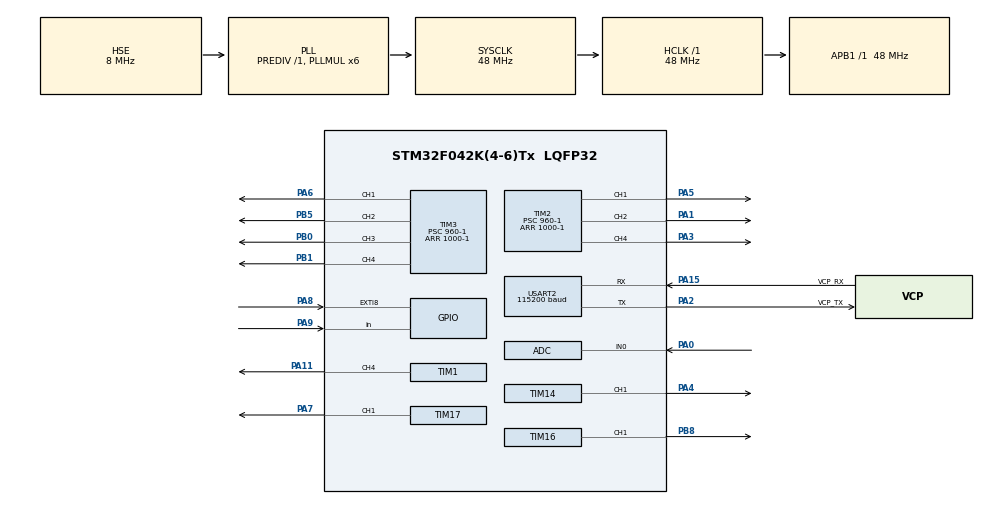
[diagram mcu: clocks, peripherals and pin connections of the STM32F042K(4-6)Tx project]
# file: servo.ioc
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ADC.ContinuousConvMode=ENABLE
Dma.Request0=USART2_RX
Dma.USART2_RX.0.Direction=DMA_PERIPH_TO_MEMORY
Dma.USART2_RX.0.Instance=DMA1_Channel5
Dma.USART2_RX.0.MemDataAlignment=DMA_MDATAALIGN_BYTE
Dma.USART2_RX.0.MemInc=DMA_MINC_ENABLE
Dma.USART2_RX.0.Mode=DMA_NORMAL
Dma.USART2_RX.0.PeriphDataAlignment=DMA_PDATAALIGN_BYTE
Dma.USART2_RX.0.PeriphInc=DMA_PINC_DISABLE
Dma.USART2_RX.0.Priority=DMA_PRIORITY_LOW
Mcu.Family=STM32F0
Mcu.Name=STM32F042K(4-6)Tx
Mcu.Package=LQFP32
NVIC.DMA1_Channel4_5_IRQn=true\:0\:0\:false\:false\:true\:false\:true
NVIC.USART2_IRQn=true\:0\:0\:false\:false\:true\:true\:true
PA0.Mode=IN0
PA0.Signal=ADC_IN0
PA1.Signal=S_TIM2_CH2
PA11.Signal=S_TIM1_CH4
PA13.GPIO_Label=SWDIO
PA13.Mode=Serial_Wire
PA13.Signal=SYS_SWDIO
PA14.GPIO_Label=SWCLK
PA14.Mode=Serial_Wire
PA14.Signal=SYS_SWCLK
PA15.GPIO_Label=VCP_RX
PA15.Mode=Asynchronous
PA15.Signal=USART2_RX
PA2.GPIO_Label=VCP_TX
PA2.Mode=Asynchronous
PA2.Signal=USART2_TX
PA3.Signal=S_TIM2_CH4
PA4.Signal=S_TIM14_CH1
PA5.Signal=S_TIM2_CH1_ETR
PA6.Signal=S_TIM3_CH1
PA7.Signal=S_TIM17_CH1
PA8.GPIO_ModeDefaultEXTI=GPIO_MODE_IT_FALLING
PA8.Signal=GPXTI8
PA9.Signal=GPIO_Input
PB0.Signal=S_TIM3_CH3
PB1.Signal=S_TIM3_CH4
PB5.Signal=S_TIM3_CH2
PB8.Signal=S_TIM16_CH1
PF0-OSC_IN.GPIO_Label=MCO
PF0-OSC_IN.Mode=HSE-External-Clock-Source
PF0-OSC_IN.Signal=RCC_OSC_IN
ProjectManager.HeapSize=0x200
ProjectManager.StackSize=0x400
ProjectManager.TargetToolchain=MDK-ARM V5.32
RCC.AHBFreq_Value=48000000
RCC.APB1Freq_Value=48000000
RCC.APB1TimFreq_Value=48000000
RCC.HCLKFreq_Value=48000000
RCC.PLLMUL=RCC_PLL_MUL6
RCC.PLLSourceVirtual=RCC_PLLSOURCE_HSE
RCC.SYSCLKFreq_VALUE=48000000
RCC.SYSCLKSource=RCC_SYSCLKSOURCE_PLLCLK
SH.S_TIM14_CH1.0=TIM14_CH1,PWM Generation1 CH1
SH.S_TIM16_CH1.0=TIM16_CH1,PWM Generation1 CH1
SH.S_TIM17_CH1.0=TIM17_CH1,PWM Generation1 CH1
SH.S_TIM1_CH4.0=TIM1_CH4,PWM Generation4 CH4
SH.S_TIM2_CH1_ETR.0=TIM2_CH1,PWM Generation1 CH1
SH.S_TIM2_CH2.0=TIM2_CH2,PWM Generation2 CH2
SH.S_TIM2_CH4.0=TIM2_CH4,PWM Generation4 CH4
SH.S_TIM3_CH1.0=TIM3_CH1,PWM Generation1 CH1
SH.S_TIM3_CH2.0=TIM3_CH2,PWM Generation2 CH2
SH.S_TIM3_CH3.0=TIM3_CH3,PWM Generation3 CH3
SH.S_TIM3_CH4.0=TIM3_CH4,PWM Generation4 CH4
TIM1.Channel-PWM\ Generation4\ CH4=TIM_CHANNEL_4
TIM1.Period=1000-1
TIM1.Prescaler=960-1
TIM14.Channel=TIM_CHANNEL_1
TIM14.Period=1000-1
TIM14.Prescaler=960-1
TIM16.Channel=TIM_CHANNEL_1
TIM16.Period=1000-1
TIM16.Prescaler=960-1
TIM17.Channel=TIM_CHANNEL_1
TIM17.Period=1000-1
TIM17.Prescaler=960-1
TIM2.Channel-PWM\ Generation1\ CH1=TIM_CHANNEL_1
TIM2.Channel-PWM\ Generation2\ CH2=TIM_CHANNEL_2
TIM2.Channel-PWM\ Generation4\ CH4=TIM_CHANNEL_4
TIM2.Period=1000-1
TIM2.Prescaler=960-1
TIM3.Channel-PWM\ Generation1\ CH1=TIM_CHANNEL_1
TIM3.Channel-PWM\ Generation2\ CH2=TIM_CHANNEL_2
TIM3.Channel-PWM\ Generation3\ CH3=TIM_CHANNEL_3
TIM3.Channel-PWM\ Generation4\ CH4=TIM_CHANNEL_4
TIM3.Period=1000-1
TIM3.Prescaler=960-1
USART2.BaudRate=115200
USART2.VirtualMode-Asynchronous=VM_ASYNC
VP_TIM14_VS_ClockSourceINT.Mode=Enable_Timer
VP_TIM16_VS_ClockSourceINT.Mode=Enable_Timer
VP_TIM17_VS_ClockSourceINT.Mode=Enable_Timer
board=NUCLEO-F042K6

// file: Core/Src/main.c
/* USER CODE BEGIN Header */
/**
  ******************************************************************************
  * @file           : main.c
  * @brief          : Main program body
  ******************************************************************************
  * @attention
  *
  * Copyright (c) 2022 STMicroelectronics.
  * All rights reserved.
  *
  * This software is licensed under terms that can be found in the LICENSE file
  * in the root directory of this software component.
  * If no LICENSE file comes with this software, it is provided AS-IS.
  *
  ******************************************************************************
  */
/* USER CODE END Header */
#include "main.h"

/* USER CODE BEGIN Includes */
#include <stdio.h> //printf function
#include <string.h>
#include <stdbool.h>
/* USER CODE END Includes */

/* USER CODE BEGIN PTD */

#ifdef __GNUC__
  /* With GCC, small printf (option LD Linker->Libraries->Small printf
     set to 'Yes') calls __io_putchar() */
  #define PUTCHAR_PROTOTYPE int __io_putchar(int ch)
#else
  #define PUTCHAR_PROTOTYPE int fputc(int ch, FILE *f)
#endif /* __GNUC__ */

/* USER CODE END PTD */

ADC_HandleTypeDef hadc;

TIM_HandleTypeDef htim1;
TIM_HandleTypeDef htim2;
TIM_HandleTypeDef htim3;
TIM_HandleTypeDef htim14;
TIM_HandleTypeDef htim16;
TIM_HandleTypeDef htim17;

UART_HandleTypeDef huart2;
DMA_HandleTypeDef hdma_usart2_rx;

void SystemClock_Config(void);
static void MX_GPIO_Init(void);
static void MX_DMA_Init(void);
static void MX_ADC_Init(void);
static void MX_TIM1_Init(void);
static void MX_TIM2_Init(void);
static void MX_TIM3_Init(void);
static void MX_TIM14_Init(void);
static void MX_TIM16_Init(void);
static void MX_TIM17_Init(void);
static void MX_USART2_UART_Init(void);

/* USER CODE BEGIN 0 */

#define RxBuf_SIZE   128
#define MainBuf_SIZE RxBuf_SIZE
uint8_t RxBuf[RxBuf_SIZE]; 			// DMA receive buffer.
uint8_t MainBuf[MainBuf_SIZE];	// RX receive.

unsigned int read_adc()
{
	uint16_t ADC_VAL;
	float voltage;

	HAL_ADC_Start(&hadc);
	HAL_ADC_PollForConversion(&hadc,10);
	ADC_VAL = HAL_ADC_GetValue(&hadc);
	HAL_ADC_Stop(&hadc);
	voltage = (float)(ADC_VAL*3.3)/4095;
	return (voltage*300)/3.3;
}

bool receiveData = false;

void HAL_UARTEx_RxEventCallback(UART_HandleTypeDef *huart, uint16_t Size)
{
		if(huart->Instance == USART2){
			uint16_t rx_buf_len = strlen((const char*)RxBuf);
			memset(MainBuf, '\0', MainBuf_SIZE);
			memcpy ((uint8_t *)MainBuf, (uint8_t *)RxBuf, rx_buf_len);  // copy data in that remaining space
			memset(RxBuf, '\0', rx_buf_len);

			/* start the DMA again */
			HAL_UARTEx_ReceiveToIdle_DMA(&huart2, (uint8_t *) RxBuf, RxBuf_SIZE);
			__HAL_DMA_DISABLE_IT(&hdma_usart2_rx, DMA_IT_HT);

		}

}

/* USER CODE END 0 */

int main(void)
{

  /* MCU Configuration--------------------------------------------------------*/

  /* Reset of all peripherals, Initializes the Flash interface and the Systick. */
  HAL_Init();

  /* Configure the system clock */
  SystemClock_Config();

  /* Initialize all configured peripherals */
  MX_GPIO_Init();
  MX_DMA_Init();
  MX_ADC_Init();
  MX_TIM1_Init();
  MX_TIM2_Init();
  MX_TIM3_Init();
  MX_TIM14_Init();
  MX_TIM16_Init();
  MX_TIM17_Init();
  MX_USART2_UART_Init();
  /* USER CODE BEGIN 2 */

HAL_UARTEx_ReceiveToIdle_DMA(&huart2, RxBuf, RxBuf_SIZE);
__HAL_DMA_DISABLE_IT(&hdma_usart2_rx, DMA_IT_HT);

  /* USER CODE END 2 */

  /* Infinite loop */
  /* USER CODE BEGIN WHILE */
	printf("uart servo test\r\n");
  while (1)
  {
    /* USER CODE END WHILE */
    /* USER CODE BEGIN 3 */

		printf("ADC_VAL= %d\r\n",read_adc());

  }

  /* USER CODE END 3 */
}

void SystemClock_Config(void)
{
  RCC_OscInitTypeDef RCC_OscInitStruct = {0};
  RCC_ClkInitTypeDef RCC_ClkInitStruct = {0};

  /** Initializes the RCC Oscillators according to the specified parameters
  * in the RCC_OscInitTypeDef structure.
  */
  RCC_OscInitStruct.OscillatorType = RCC_OSCILLATORTYPE_HSI14|RCC_OSCILLATORTYPE_HSE;
  RCC_OscInitStruct.HSEState = RCC_HSE_BYPASS;
  RCC_OscInitStruct.HSI14State = RCC_HSI14_ON;
  RCC_OscInitStruct.HSI14CalibrationValue = 16;
  RCC_OscInitStruct.PLL.PLLState = RCC_PLL_ON;
  RCC_OscInitStruct.PLL.PLLSource = RCC_PLLSOURCE_HSE;
  RCC_OscInitStruct.PLL.PLLMUL = RCC_PLL_MUL6;
  RCC_OscInitStruct.PLL.PREDIV = RCC_PREDIV_DIV1;
  if (HAL_RCC_OscConfig(&RCC_OscInitStruct) != HAL_OK)
  {
    Error_Handler();
  }
  /** Initializes the CPU, AHB and APB buses clocks
  */
  RCC_ClkInitStruct.ClockType = RCC_CLOCKTYPE_HCLK|RCC_CLOCKTYPE_SYSCLK
                              |RCC_CLOCKTYPE_PCLK1;
  RCC_ClkInitStruct.SYSCLKSource = RCC_SYSCLKSOURCE_PLLCLK;
  RCC_ClkInitStruct.AHBCLKDivider = RCC_SYSCLK_DIV1;
  RCC_ClkInitStruct.APB1CLKDivider = RCC_HCLK_DIV1;

  if (HAL_RCC_ClockConfig(&RCC_ClkInitStruct, FLASH_LATENCY_1) != HAL_OK)
  {
    Error_Handler();
  }
}

static void MX_ADC_Init(void)
{

  ADC_ChannelConfTypeDef sConfig = {0};

  /** Configure the global features of the ADC (Clock, Resolution, Data Alignment and number of conversion)
  */
  hadc.Instance = ADC1;
  hadc.Init.ClockPrescaler = ADC_CLOCK_ASYNC_DIV1;
  hadc.Init.Resolution = ADC_RESOLUTION_12B;
  hadc.Init.DataAlign = ADC_DATAALIGN_RIGHT;
  hadc.Init.ScanConvMode = ADC_SCAN_DIRECTION_FORWARD;
  hadc.Init.EOCSelection = ADC_EOC_SINGLE_CONV;
  hadc.Init.LowPowerAutoWait = DISABLE;
  hadc.Init.LowPowerAutoPowerOff = DISABLE;
  hadc.Init.ContinuousConvMode = ENABLE;
  hadc.Init.DiscontinuousConvMode = DISABLE;
  hadc.Init.ExternalTrigConv = ADC_SOFTWARE_START;
  hadc.Init.ExternalTrigConvEdge = ADC_EXTERNALTRIGCONVEDGE_NONE;
  hadc.Init.DMAContinuousRequests = DISABLE;
  hadc.Init.Overrun = ADC_OVR_DATA_PRESERVED;
  if (HAL_ADC_Init(&hadc) != HAL_OK)
  {
    Error_Handler();
  }
  /** Configure for the selected ADC regular channel to be converted.
  */
  sConfig.Channel = ADC_CHANNEL_0;
  sConfig.Rank = ADC_RANK_CHANNEL_NUMBER;
  sConfig.SamplingTime = ADC_SAMPLETIME_1CYCLE_5;
  if (HAL_ADC_ConfigChannel(&hadc, &sConfig) != HAL_OK)
  {
    Error_Handler();
  }

}

static void MX_TIM1_Init(void)
{

  TIM_MasterConfigTypeDef sMasterConfig = {0};
  TIM_OC_InitTypeDef sConfigOC = {0};
  TIM_BreakDeadTimeConfigTypeDef sBreakDeadTimeConfig = {0};

  htim1.Instance = TIM1;
  htim1.Init.Prescaler = 960-1;
  htim1.Init.CounterMode = TIM_COUNTERMODE_UP;
  htim1.Init.Period = 1000-1;
  htim1.Init.ClockDivision = TIM_CLOCKDIVISION_DIV1;
  htim1.Init.RepetitionCounter = 0;
  htim1.Init.AutoReloadPreload = TIM_AUTORELOAD_PRELOAD_DISABLE;
  if (HAL_TIM_PWM_Init(&htim1) != HAL_OK)
  {
    Error_Handler();
  }
  sMasterConfig.MasterOutputTrigger = TIM_TRGO_RESET;
  sMasterConfig.MasterSlaveMode = TIM_MASTERSLAVEMODE_DISABLE;
  if (HAL_TIMEx_MasterConfigSynchronization(&htim1, &sMasterConfig) != HAL_OK)
  {
    Error_Handler();
  }
  sConfigOC.OCMode = TIM_OCMODE_PWM1;
  sConfigOC.Pulse = 0;
  sConfigOC.OCPolarity = TIM_OCPOLARITY_HIGH;
  sConfigOC.OCFastMode = TIM_OCFAST_DISABLE;
  sConfigOC.OCIdleState = TIM_OCIDLESTATE_RESET;
  sConfigOC.OCNIdleState = TIM_OCNIDLESTATE_RESET;
  if (HAL_TIM_PWM_ConfigChannel(&htim1, &sConfigOC, TIM_CHANNEL_4) != HAL_OK)
  {
    Error_Handler();
  }
  sBreakDeadTimeConfig.OffStateRunMode = TIM_OSSR_DISABLE;
  sBreakDeadTimeConfig.OffStateIDLEMode = TIM_OSSI_DISABLE;
  sBreakDeadTimeConfig.LockLevel = TIM_LOCKLEVEL_OFF;
  sBreakDeadTimeConfig.DeadTime = 0;
  sBreakDeadTimeConfig.BreakState = TIM_BREAK_DISABLE;
  sBreakDeadTimeConfig.BreakPolarity = TIM_BREAKPOLARITY_HIGH;
  sBreakDeadTimeConfig.AutomaticOutput = TIM_AUTOMATICOUTPUT_DISABLE;
  if (HAL_TIMEx_ConfigBreakDeadTime(&htim1, &sBreakDeadTimeConfig) != HAL_OK)
  {
    Error_Handler();
  }
  HAL_TIM_MspPostInit(&htim1);

}

static void MX_TIM2_Init(void)
{

  TIM_MasterConfigTypeDef sMasterConfig = {0};
  TIM_OC_InitTypeDef sConfigOC = {0};

  htim2.Instance = TIM2;
  htim2.Init.Prescaler = 960-1;
  htim2.Init.CounterMode = TIM_COUNTERMODE_UP;
  htim2.Init.Period = 1000-1;
  htim2.Init.ClockDivision = TIM_CLOCKDIVISION_DIV1;
  htim2.Init.AutoReloadPreload = TIM_AUTORELOAD_PRELOAD_DISABLE;
  if (HAL_TIM_PWM_Init(&htim2) != HAL_OK)
  {
    Error_Handler();
  }
  sMasterConfig.MasterOutputTrigger = TIM_TRGO_RESET;
  sMasterConfig.MasterSlaveMode = TIM_MASTERSLAVEMODE_DISABLE;
  if (HAL_TIMEx_MasterConfigSynchronization(&htim2, &sMasterConfig) != HAL_OK)
  {
    Error_Handler();
  }
  sConfigOC.OCMode = TIM_OCMODE_PWM1;
  sConfigOC.Pulse = 0;
  sConfigOC.OCPolarity = TIM_OCPOLARITY_HIGH;
  sConfigOC.OCFastMode = TIM_OCFAST_DISABLE;
  if (HAL_TIM_PWM_ConfigChannel(&htim2, &sConfigOC, TIM_CHANNEL_1) != HAL_OK)
  {
    Error_Handler();
  }
  if (HAL_TIM_PWM_ConfigChannel(&htim2, &sConfigOC, TIM_CHANNEL_2) != HAL_OK)
  {
    Error_Handler();
  }
  if (HAL_TIM_PWM_ConfigChannel(&htim2, &sConfigOC, TIM_CHANNEL_4) != HAL_OK)
  {
    Error_Handler();
  }
  HAL_TIM_MspPostInit(&htim2);

}

static void MX_TIM3_Init(void)
{

  TIM_MasterConfigTypeDef sMasterConfig = {0};
  TIM_OC_InitTypeDef sConfigOC = {0};

  htim3.Instance = TIM3;
  htim3.Init.Prescaler = 960-1;
  htim3.Init.CounterMode = TIM_COUNTERMODE_UP;
  htim3.Init.Period = 1000-1;
  htim3.Init.ClockDivision = TIM_CLOCKDIVISION_DIV1;
  htim3.Init.AutoReloadPreload = TIM_AUTORELOAD_PRELOAD_DISABLE;
  if (HAL_TIM_PWM_Init(&htim3) != HAL_OK)
  {
    Error_Handler();
  }
  sMasterConfig.MasterOutputTrigger = TIM_TRGO_RESET;
  sMasterConfig.MasterSlaveMode = TIM_MASTERSLAVEMODE_DISABLE;
  if (HAL_TIMEx_MasterConfigSynchronization(&htim3, &sMasterConfig) != HAL_OK)
  {
    Error_Handler();
  }
  sConfigOC.OCMode = TIM_OCMODE_PWM1;
  sConfigOC.Pulse = 0;
  sConfigOC.OCPolarity = TIM_OCPOLARITY_HIGH;
  sConfigOC.OCFastMode = TIM_OCFAST_DISABLE;
  if (HAL_TIM_PWM_ConfigChannel(&htim3, &sConfigOC, TIM_CHANNEL_1) != HAL_OK)
  {
    Error_Handler();
  }
  if (HAL_TIM_PWM_ConfigChannel(&htim3, &sConfigOC, TIM_CHANNEL_2) != HAL_OK)
  {
    Error_Handler();
  }
  if (HAL_TIM_PWM_ConfigChannel(&htim3, &sConfigOC, TIM_CHANNEL_3) != HAL_OK)
  {
    Error_Handler();
  }
  if (HAL_TIM_PWM_ConfigChannel(&htim3, &sConfigOC, TIM_CHANNEL_4) != HAL_OK)
  {
    Error_Handler();
  }
  HAL_TIM_MspPostInit(&htim3);

}

static void MX_TIM14_Init(void)
{

  TIM_OC_InitTypeDef sConfigOC = {0};

  htim14.Instance = TIM14;
  htim14.Init.Prescaler = 960-1;
  htim14.Init.CounterMode = TIM_COUNTERMODE_UP;
  htim14.Init.Period = 1000-1;
  htim14.Init.ClockDivision = TIM_CLOCKDIVISION_DIV1;
  htim14.Init.AutoReloadPreload = TIM_AUTORELOAD_PRELOAD_DISABLE;
  if (HAL_TIM_Base_Init(&htim14) != HAL_OK)
  {
    Error_Handler();
  }
  if (HAL_TIM_PWM_Init(&htim14) != HAL_OK)
  {
    Error_Handler();
  }
  sConfigOC.OCMode = TIM_OCMODE_PWM1;
  sConfigOC.Pulse = 0;
  sConfigOC.OCPolarity = TIM_OCPOLARITY_HIGH;
  sConfigOC.OCFastMode = TIM_OCFAST_DISABLE;
  if (HAL_TIM_PWM_ConfigChannel(&htim14, &sConfigOC, TIM_CHANNEL_1) != HAL_OK)
  {
    Error_Handler();
  }
  HAL_TIM_MspPostInit(&htim14);

}

static void MX_TIM16_Init(void)
{

  TIM_OC_InitTypeDef sConfigOC = {0};
  TIM_BreakDeadTimeConfigTypeDef sBreakDeadTimeConfig = {0};

  htim16.Instance = TIM16;
  htim16.Init.Prescaler = 960-1;
  htim16.Init.CounterMode = TIM_COUNTERMODE_UP;
  htim16.Init.Period = 1000-1;
  htim16.Init.ClockDivision = TIM_CLOCKDIVISION_DIV1;
  htim16.Init.RepetitionCounter = 0;
  htim16.Init.AutoReloadPreload = TIM_AUTORELOAD_PRELOAD_DISABLE;
  if (HAL_TIM_Base_Init(&htim16) != HAL_OK)
  {
    Error_Handler();
  }
  if (HAL_TIM_PWM_Init(&htim16) != HAL_OK)
  {
    Error_Handler();
  }
  sConfigOC.OCMode = TIM_OCMODE_PWM1;
  sConfigOC.Pulse = 0;
  sConfigOC.OCPolarity = TIM_OCPOLARITY_HIGH;
  sConfigOC.OCNPolarity = TIM_OCNPOLARITY_HIGH;
  sConfigOC.OCFastMode = TIM_OCFAST_DISABLE;
  sConfigOC.OCIdleState = TIM_OCIDLESTATE_RESET;
  sConfigOC.OCNIdleState = TIM_OCNIDLESTATE_RESET;
  if (HAL_TIM_PWM_ConfigChannel(&htim16, &sConfigOC, TIM_CHANNEL_1) != HAL_OK)
  {
    Error_Handler();
  }
  sBreakDeadTimeConfig.OffStateRunMode = TIM_OSSR_DISABLE;
  sBreakDeadTimeConfig.OffStateIDLEMode = TIM_OSSI_DISABLE;
  sBreakDeadTimeConfig.LockLevel = TIM_LOCKLEVEL_OFF;
  sBreakDeadTimeConfig.DeadTime = 0;
  sBreakDeadTimeConfig.BreakState = TIM_BREAK_DISABLE;
  sBreakDeadTimeConfig.BreakPolarity = TIM_BREAKPOLARITY_HIGH;
  sBreakDeadTimeConfig.AutomaticOutput = TIM_AUTOMATICOUTPUT_DISABLE;
  if (HAL_TIMEx_ConfigBreakDeadTime(&htim16, &sBreakDeadTimeConfig) != HAL_OK)
  {
    Error_Handler();
  }
  HAL_TIM_MspPostInit(&htim16);

}

static void MX_TIM17_Init(void)
{

  TIM_OC_InitTypeDef sConfigOC = {0};
  TIM_BreakDeadTimeConfigTypeDef sBreakDeadTimeConfig = {0};

  htim17.Instance = TIM17;
  htim17.Init.Prescaler = 960-1;
  htim17.Init.CounterMode = TIM_COUNTERMODE_UP;
  htim17.Init.Period = 1000-1;
  htim17.Init.ClockDivision = TIM_CLOCKDIVISION_DIV1;
  htim17.Init.RepetitionCounter = 0;
  htim17.Init.AutoReloadPreload = TIM_AUTORELOAD_PRELOAD_DISABLE;
  if (HAL_TIM_Base_Init(&htim17) != HAL_OK)
  {
    Error_Handler();
  }
  if (HAL_TIM_PWM_Init(&htim17) != HAL_OK)
  {
    Error_Handler();
  }
  sConfigOC.OCMode = TIM_OCMODE_PWM1;
  sConfigOC.Pulse = 0;
  sConfigOC.OCPolarity = TIM_OCPOLARITY_HIGH;
  sConfigOC.OCNPolarity = TIM_OCNPOLARITY_HIGH;
  sConfigOC.OCFastMode = TIM_OCFAST_DISABLE;
  sConfigOC.OCIdleState = TIM_OCIDLESTATE_RESET;
  sConfigOC.OCNIdleState = TIM_OCNIDLESTATE_RESET;
  if (HAL_TIM_PWM_ConfigChannel(&htim17, &sConfigOC, TIM_CHANNEL_1) != HAL_OK)
  {
    Error_Handler();
  }
  sBreakDeadTimeConfig.OffStateRunMode = TIM_OSSR_DISABLE;
  sBreakDeadTimeConfig.OffStateIDLEMode = TIM_OSSI_DISABLE;
  sBreakDeadTimeConfig.LockLevel = TIM_LOCKLEVEL_OFF;
  sBreakDeadTimeConfig.DeadTime = 0;
  sBreakDeadTimeConfig.BreakState = TIM_BREAK_DISABLE;
  sBreakDeadTimeConfig.BreakPolarity = TIM_BREAKPOLARITY_HIGH;
  sBreakDeadTimeConfig.AutomaticOutput = TIM_AUTOMATICOUTPUT_DISABLE;
  if (HAL_TIMEx_ConfigBreakDeadTime(&htim17, &sBreakDeadTimeConfig) != HAL_OK)
  {
    Error_Handler();
  }
  HAL_TIM_MspPostInit(&htim17);

}

static void MX_USART2_UART_Init(void)
{

  huart2.Instance = USART2;
  huart2.Init.BaudRate = 115200;
  huart2.Init.WordLength = UART_WORDLENGTH_8B;
  huart2.Init.StopBits = UART_STOPBITS_1;
  huart2.Init.Parity = UART_PARITY_NONE;
  huart2.Init.Mode = UART_MODE_TX_RX;
  huart2.Init.HwFlowCtl = UART_HWCONTROL_NONE;
  huart2.Init.OverSampling = UART_OVERSAMPLING_16;
  huart2.Init.OneBitSampling = UART_ONE_BIT_SAMPLE_DISABLE;
  huart2.AdvancedInit.AdvFeatureInit = UART_ADVFEATURE_NO_INIT;
  if (HAL_UART_Init(&huart2) != HAL_OK)
  {
    Error_Handler();
  }

}

static void MX_DMA_Init(void)
{

  /* DMA controller clock enable */
  __HAL_RCC_DMA1_CLK_ENABLE();

  /* DMA interrupt init */
  /* DMA1_Channel4_5_IRQn interrupt configuration */
  HAL_NVIC_SetPriority(DMA1_Channel4_5_IRQn, 0, 0);
  HAL_NVIC_EnableIRQ(DMA1_Channel4_5_IRQn);

}

static void MX_GPIO_Init(void)
{
  GPIO_InitTypeDef GPIO_InitStruct = {0};

  /* GPIO Ports Clock Enable */
  __HAL_RCC_GPIOF_CLK_ENABLE();
  __HAL_RCC_GPIOA_CLK_ENABLE();
  __HAL_RCC_GPIOB_CLK_ENABLE();

  /*Configure GPIO pin : PA8 */
  GPIO_InitStruct.Pin = GPIO_PIN_8;
  GPIO_InitStruct.Mode = GPIO_MODE_IT_FALLING;
  GPIO_InitStruct.Pull = GPIO_NOPULL;
  HAL_GPIO_Init(GPIOA, &GPIO_InitStruct);

  /*Configure GPIO pin : PA9 */
  GPIO_InitStruct.Pin = GPIO_PIN_9;
  GPIO_InitStruct.Mode = GPIO_MODE_INPUT;
  GPIO_InitStruct.Pull = GPIO_NOPULL;
  HAL_GPIO_Init(GPIOA, &GPIO_InitStruct);

}

/* USER CODE BEGIN 4 */

PUTCHAR_PROTOTYPE
{
  /* Place your implementation of fputc here */
  /* e.g. write a character to the EVAL_COM1 and Loop until the end of transmission */
  HAL_UART_Transmit(&huart2, (uint8_t *)&ch, 1, 0xFFFF);

  return ch;
}

/* USER CODE END 4 */

void Error_Handler(void)
{
  __disable_irq();
  while (1)
  {
  }
}
